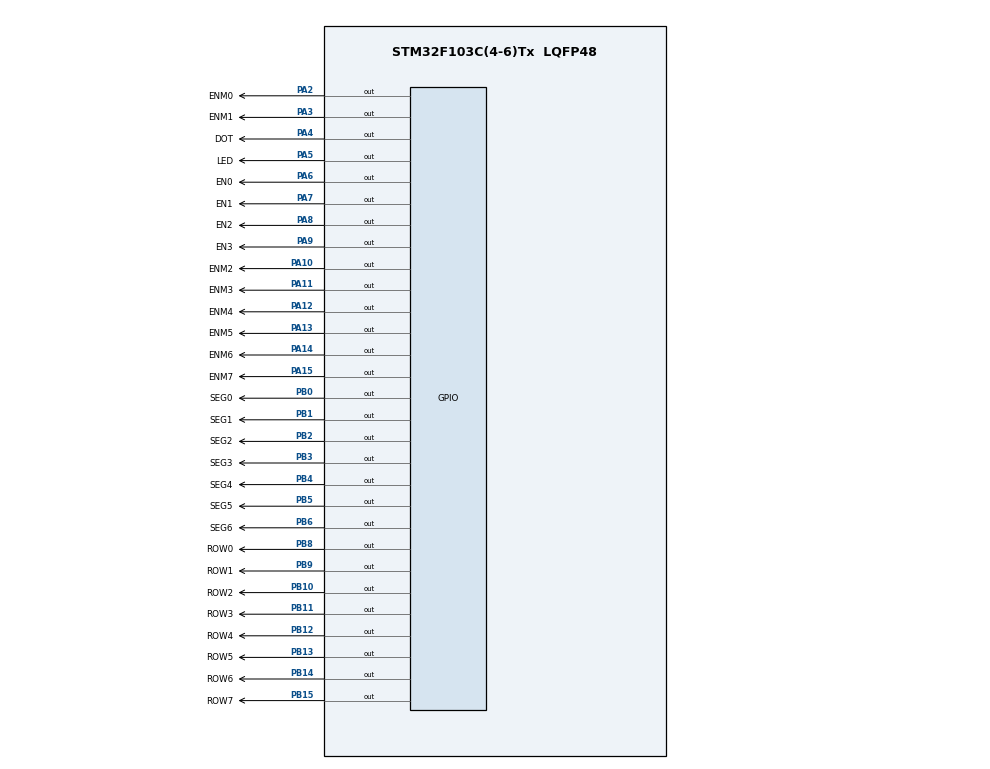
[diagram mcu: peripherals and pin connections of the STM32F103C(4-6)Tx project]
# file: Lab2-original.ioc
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Mcu.Family=STM32F1
Mcu.Name=STM32F103C(4-6)Tx
Mcu.Package=LQFP48
NVIC.PriorityGroup=NVIC_PRIORITYGROUP_4
NVIC.TIM2_IRQn=true\:0\:0\:false\:false\:true\:true\:true\:true
PA10.GPIO_Label=ENM2
PA10.Signal=GPIO_Output
PA11.GPIO_Label=ENM3
PA11.Signal=GPIO_Output
PA12.GPIO_Label=ENM4
PA12.Signal=GPIO_Output
PA13.GPIO_Label=ENM5
PA13.Signal=GPIO_Output
PA14.GPIO_Label=ENM6
PA14.Signal=GPIO_Output
PA15.GPIO_Label=ENM7
PA15.Signal=GPIO_Output
PA2.GPIO_Label=ENM0
PA2.Signal=GPIO_Output
PA3.GPIO_Label=ENM1
PA3.Signal=GPIO_Output
PA4.GPIO_Label=DOT
PA4.Signal=GPIO_Output
PA5.GPIO_Label=LED
PA5.Signal=GPIO_Output
PA6.GPIO_Label=EN0
PA6.Signal=GPIO_Output
PA7.GPIO_Label=EN1
PA7.Signal=GPIO_Output
PA8.GPIO_Label=EN2
PA8.Signal=GPIO_Output
PA9.GPIO_Label=EN3
PA9.Signal=GPIO_Output
PB0.GPIO_Label=SEG0
PB0.Signal=GPIO_Output
PB1.GPIO_Label=SEG1
PB1.Signal=GPIO_Output
PB10.GPIO_Label=ROW2
PB10.Signal=GPIO_Output
PB11.GPIO_Label=ROW3
PB11.Signal=GPIO_Output
PB12.GPIO_Label=ROW4
PB12.Signal=GPIO_Output
PB13.GPIO_Label=ROW5
PB13.Signal=GPIO_Output
PB14.GPIO_Label=ROW6
PB14.Signal=GPIO_Output
PB15.GPIO_Label=ROW7
PB15.Signal=GPIO_Output
PB2.GPIO_Label=SEG2
PB2.Signal=GPIO_Output
PB3.GPIO_Label=SEG3
PB3.Signal=GPIO_Output
PB4.GPIO_Label=SEG4
PB4.Signal=GPIO_Output
PB5.GPIO_Label=SEG5
PB5.Signal=GPIO_Output
PB6.GPIO_Label=SEG6
PB6.Signal=GPIO_Output
PB8.GPIO_Label=ROW0
PB8.Signal=GPIO_Output
PB9.GPIO_Label=ROW1
PB9.Signal=GPIO_Output
ProjectManager.HeapSize=0x200
ProjectManager.StackSize=0x400
ProjectManager.TargetToolchain=STM32CubeIDE
RCC.APB1Freq_Value=8000000
RCC.APB2Freq_Value=8000000
TIM2.Period=9
TIM2.Prescaler=7999
VP_SYS_VS_ND.Mode=No_Debug
VP_TIM2_VS_ClockSourceINT.Mode=Internal
board=custom

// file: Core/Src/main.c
/* USER CODE BEGIN Header */
/**
  ******************************************************************************
  * @file           : main.c
  * @brief          : Main program body
  ******************************************************************************
  * @attention
  *
  * Copyright (c) 2025 STMicroelectronics.
  * All rights reserved.
  *
  * This software is licensed under terms that can be found in the LICENSE file
  * in the root directory of this software component.
  * If no LICENSE file comes with this software, it is provided AS-IS.
  *
  ******************************************************************************
  */
/* USER CODE END Header */
#include "main.h"

TIM_HandleTypeDef htim2;

void SystemClock_Config(void);
static void MX_GPIO_Init(void);
static void MX_TIM2_Init(void);

/* USER CODE BEGIN 0 */
// Active High bitmasks
int segments[10] =
{
		0b1111110, // zero
		0b0110000, // one
		0b1101101, // two
		0b1111001, // three
		0b0110011, // four
		0b1011011, // five
		0b1011111, // six
		0b1110000, // seven
		0b1111111, // eight
		0b1111011  // nine
};
int led_buffer[4] = {0, 0, 0, 0};
int hour = 3, minute = 59, second = 59;
int timer0_counter = 0;
int timer0_flag = 0;
int TIMER_CYCLE = 10;

int timer1_counter = 0;
int timer1_flag = 0;
int timer2_counter = 0;
int timer2_flag = 0;
int led_index = 0;

int SEG_Pins[7] =
{
		SEG0_Pin, SEG1_Pin, SEG2_Pin, SEG3_Pin, SEG4_Pin, SEG5_Pin, SEG6_Pin
};
// Active Low Segments

void display7Seg(int num)
{
	int bitmask = segments[num];

	for (int i = 0; i <= 6; i++)
		HAL_GPIO_WritePin(GPIOB, SEG_Pins[i], bitmask & (1 << (6 - i)) ? RESET : SET);

}
void update7SEG(int index)
{
	switch (index)
	{
		case 0:
			HAL_GPIO_WritePin(GPIOA, EN0_Pin, RESET);
			HAL_GPIO_WritePin(GPIOA, EN1_Pin, SET);
			HAL_GPIO_WritePin(GPIOA, EN2_Pin, SET);
			HAL_GPIO_WritePin(GPIOA, EN3_Pin, SET);
			display7Seg(led_buffer[0]);
			break;
		case 1:
			HAL_GPIO_WritePin(GPIOA, EN0_Pin, SET);
			HAL_GPIO_WritePin(GPIOA, EN1_Pin, RESET);
			HAL_GPIO_WritePin(GPIOA, EN2_Pin, SET);
			HAL_GPIO_WritePin(GPIOA, EN3_Pin, SET);
			display7Seg(led_buffer[1]);
			break;
		case 2:
			HAL_GPIO_WritePin(GPIOA, EN0_Pin, SET);
			HAL_GPIO_WritePin(GPIOA, EN1_Pin, SET);
			HAL_GPIO_WritePin(GPIOA, EN2_Pin, RESET);
			HAL_GPIO_WritePin(GPIOA, EN3_Pin, SET);
			display7Seg(led_buffer[2]);
			break;
		case 3:
			HAL_GPIO_WritePin(GPIOA, EN0_Pin, SET);
			HAL_GPIO_WritePin(GPIOA, EN1_Pin, SET);
			HAL_GPIO_WritePin(GPIOA, EN2_Pin, SET);
			HAL_GPIO_WritePin(GPIOA, EN3_Pin, RESET);
			display7Seg(led_buffer[3]);
			break;
		default:
			break;
	}
}
void updateClockBuffer()
{
		led_buffer[0] = hour / 10;
		led_buffer[1] = hour % 10;
		led_buffer[2] = minute / 10;
		led_buffer[3] = minute % 10;
}

void setTimer0(int duration)
{
	timer0_counter = duration / TIMER_CYCLE;
	timer0_flag = 0;
}

void setTimer1(int duration)
{
	timer1_counter = duration / TIMER_CYCLE;
	timer1_flag = 0;
}

void timer_run()
{
	if (timer0_counter > 0)
		timer0_counter--;
	if (timer0_counter == 0)
		timer0_flag = 1;

	if (timer1_counter > 0)
		timer1_counter--;
	if (timer1_counter == 0)
		timer1_flag = 1;
//	if (timer2_counter > 0)
//		timer2_counter--;

//	if (timer2_counter == 0)
//	{
//		timer2_flag = 1;
//	}

}

/* USER CODE END 0 */

int main(void)
{

  /* MCU Configuration--------------------------------------------------------*/

  /* Reset of all peripherals, Initializes the Flash interface and the Systick. */
  HAL_Init();

  /* Configure the system clock */
  SystemClock_Config();

  /* Initialize all configured peripherals */
  MX_GPIO_Init();
  MX_TIM2_Init();
  /* USER CODE BEGIN 2 */
  HAL_TIM_Base_Start_IT(&htim2);
  /* USER CODE END 2 */

  /* Infinite loop */
  /* USER CODE BEGIN WHILE */
  setTimer0(1000);

  while (1)
  {
    /* USER CODE END WHILE */

    /* USER CODE BEGIN 3 */
	  if (timer1_flag == 1)
	  {
		  updateClockBuffer();
		  update7SEG(led_index++);
		  if (led_index == 4)
			led_index = 0;
		  setTimer1(100);
	  }
	  if (timer0_flag == 1)
	  {
		  HAL_GPIO_TogglePin(GPIOA, LED_Pin);
		  HAL_GPIO_TogglePin(GPIOA, DOT_Pin);

		  second++;
		  if (second >= 60)
		  {
			  second = 0;
			  minute++;
		  }
		  if (minute >= 60)
		  {
			  minute = 0;
			  hour++;
		  }
		  if (hour >= 24)
		  {
			  hour = 0;
		  }

		  setTimer0(1000);

	  }

	  // HAL_Delay(1000);
  }
  /* USER CODE END 3 */
}

void SystemClock_Config(void)
{
  RCC_OscInitTypeDef RCC_OscInitStruct = {0};
  RCC_ClkInitTypeDef RCC_ClkInitStruct = {0};

  /** Initializes the RCC Oscillators according to the specified parameters
  * in the RCC_OscInitTypeDef structure.
  */
  RCC_OscInitStruct.OscillatorType = RCC_OSCILLATORTYPE_HSI;
  RCC_OscInitStruct.HSIState = RCC_HSI_ON;
  RCC_OscInitStruct.HSICalibrationValue = RCC_HSICALIBRATION_DEFAULT;
  RCC_OscInitStruct.PLL.PLLState = RCC_PLL_NONE;
  if (HAL_RCC_OscConfig(&RCC_OscInitStruct) != HAL_OK)
  {
    Error_Handler();
  }

  /** Initializes the CPU, AHB and APB buses clocks
  */
  RCC_ClkInitStruct.ClockType = RCC_CLOCKTYPE_HCLK|RCC_CLOCKTYPE_SYSCLK
                              |RCC_CLOCKTYPE_PCLK1|RCC_CLOCKTYPE_PCLK2;
  RCC_ClkInitStruct.SYSCLKSource = RCC_SYSCLKSOURCE_HSI;
  RCC_ClkInitStruct.AHBCLKDivider = RCC_SYSCLK_DIV1;
  RCC_ClkInitStruct.APB1CLKDivider = RCC_HCLK_DIV1;
  RCC_ClkInitStruct.APB2CLKDivider = RCC_HCLK_DIV1;

  if (HAL_RCC_ClockConfig(&RCC_ClkInitStruct, FLASH_LATENCY_0) != HAL_OK)
  {
    Error_Handler();
  }
}

static void MX_TIM2_Init(void)
{

  TIM_ClockConfigTypeDef sClockSourceConfig = {0};
  TIM_MasterConfigTypeDef sMasterConfig = {0};

  htim2.Instance = TIM2;
  htim2.Init.Prescaler = 7999;
  htim2.Init.CounterMode = TIM_COUNTERMODE_UP;
  htim2.Init.Period = 9;
  htim2.Init.ClockDivision = TIM_CLOCKDIVISION_DIV1;
  htim2.Init.AutoReloadPreload = TIM_AUTORELOAD_PRELOAD_DISABLE;
  if (HAL_TIM_Base_Init(&htim2) != HAL_OK)
  {
    Error_Handler();
  }
  sClockSourceConfig.ClockSource = TIM_CLOCKSOURCE_INTERNAL;
  if (HAL_TIM_ConfigClockSource(&htim2, &sClockSourceConfig) != HAL_OK)
  {
    Error_Handler();
  }
  sMasterConfig.MasterOutputTrigger = TIM_TRGO_RESET;
  sMasterConfig.MasterSlaveMode = TIM_MASTERSLAVEMODE_DISABLE;
  if (HAL_TIMEx_MasterConfigSynchronization(&htim2, &sMasterConfig) != HAL_OK)
  {
    Error_Handler();
  }

}

static void MX_GPIO_Init(void)
{
  GPIO_InitTypeDef GPIO_InitStruct = {0};

  /* GPIO Ports Clock Enable */
  __HAL_RCC_GPIOA_CLK_ENABLE();
  __HAL_RCC_GPIOB_CLK_ENABLE();

  /*Configure GPIO pin Output Level */
  HAL_GPIO_WritePin(GPIOA, DOT_Pin|LED_Pin|EN0_Pin|EN1_Pin
                          |EN2_Pin|EN3_Pin, GPIO_PIN_RESET);

  /*Configure GPIO pin Output Level */
  HAL_GPIO_WritePin(GPIOB, SEG0_Pin|SEG1_Pin|SEG2_Pin|SEG3_Pin
                          |SEG4_Pin|SEG5_Pin|SEG6_Pin, GPIO_PIN_SET);

  /*Configure GPIO pins : DOT_Pin LED_Pin EN0_Pin EN1_Pin
                           EN2_Pin EN3_Pin */
  GPIO_InitStruct.Pin = DOT_Pin|LED_Pin|EN0_Pin|EN1_Pin
                          |EN2_Pin|EN3_Pin;
  GPIO_InitStruct.Mode = GPIO_MODE_OUTPUT_PP;
  GPIO_InitStruct.Pull = GPIO_NOPULL;
  GPIO_InitStruct.Speed = GPIO_SPEED_FREQ_LOW;
  HAL_GPIO_Init(GPIOA, &GPIO_InitStruct);

  /*Configure GPIO pins : SEG0_Pin SEG1_Pin SEG2_Pin SEG3_Pin
                           SEG4_Pin SEG5_Pin SEG6_Pin */
  GPIO_InitStruct.Pin = SEG0_Pin|SEG1_Pin|SEG2_Pin|SEG3_Pin
                          |SEG4_Pin|SEG5_Pin|SEG6_Pin;
  GPIO_InitStruct.Mode = GPIO_MODE_OUTPUT_PP;
  GPIO_InitStruct.Pull = GPIO_NOPULL;
  GPIO_InitStruct.Speed = GPIO_SPEED_FREQ_LOW;
  HAL_GPIO_Init(GPIOB, &GPIO_InitStruct);

}

/* USER CODE BEGIN 4 */

// Active High EN Signal
int en[4] = {0, 0, 0, 0};

void HAL_TIM_PeriodElapsedCallback(TIM_HandleTypeDef *htim)
{
	timer_run();

}
/* USER CODE END 4 */

void Error_Handler(void)
{
  __disable_irq();
  while (1)
  {
  }
}
